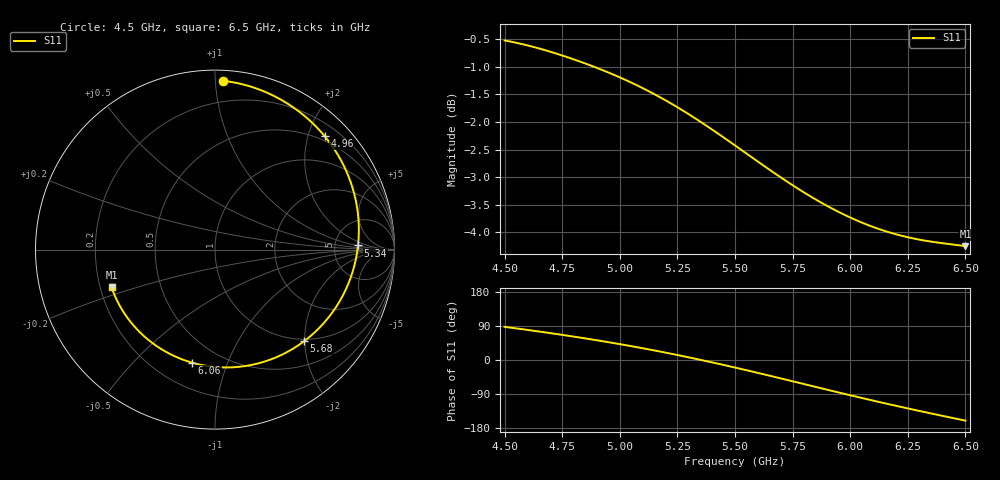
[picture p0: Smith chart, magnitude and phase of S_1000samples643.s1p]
! TOUCHSTONE file generated by CST MICROWAVE STUDIO
! Date and time: Fri Oct 28 21:29:09 2022
! Project name: L.cst
! Parameters = {Di=1.27; Epsilon_r=1.56; InnerDiameter=1.27; Length=2; Lf=10; Lg=60; OuterConductorThickness=0.2921; OuterDiameter=3.6; Wf=3; Wp=41.2; de=1.5; df=6.8; g=0.8; gx=3.41546; gy=2.88074; h=2.34; hf=1.524; px=11.6817; py=11.5599; w=9.7; wx=8.26622; wy=8.67921}
! Header version: 2018
! Port assignment regex: !\s*Touchstone port\s*([0-9]+)\s*=\s*(CST MWS port|CST DS port)\s*([0-9]+|Zmin|Zmax)\s*\(\"(.*)\"\)(\s*mode\s*([0-9]+))?.*
! Touchstone port assignment:
! Touchstone port 1 = CST MWS port 1 ("")
# GHz S DB R 50
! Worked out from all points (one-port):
!   101 points, 4.5 GHz to 6.5 GHz, reference 50 ohm
!   lowest |S11| = -4.3 dB at 6.5 GHz (marker M1), VSWR 4.17, Z = 12.3 - j8.27 ohm
!   |S11| at or under -10 dB: nowhere
!   S11 on the Smith chart (normalised r, x): 4.5 GHz: 0.06, +1.04; 4.96 GHz: 0.41, +2.29; 5.34 GHz: 8.72, +1.11; 5.68 GHz: 0.96, -1.98; 6.06 GHz: 0.35, -0.75; 6.5 GHz: 0.25, -0.17
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4.5  -0.52 87.4
4.58  -0.59 81.0
4.64  -0.66 75.9
4.76  -0.81 65.4
4.86  -0.96 56.0
4.96  -1.12 46.0
5  -1.19 41.8
5.08  -1.35 33.1
5.14  -1.47 26.3
5.2  -1.61 19.2
5.26  -1.76 11.9
5.34  -1.97 1.7
5.42  -2.19 -9.0
5.5  -2.43 -20.0
5.58  -2.66 -31.3
5.68  -2.95 -45.9
5.76  -3.17 -57.7
5.82  -3.33 -66.6
5.88  -3.48 -75.5
5.94  -3.61 -84.3
6  -3.73 -93.0
6.06  -3.84 -101.6
6.16  -3.99 -115.6
6.26  -4.10 -129.1
6.32  -4.15 -137.0
6.38  -4.19 -144.8
6.44  -4.22 -152.4
6.5  -4.25 -160.0
